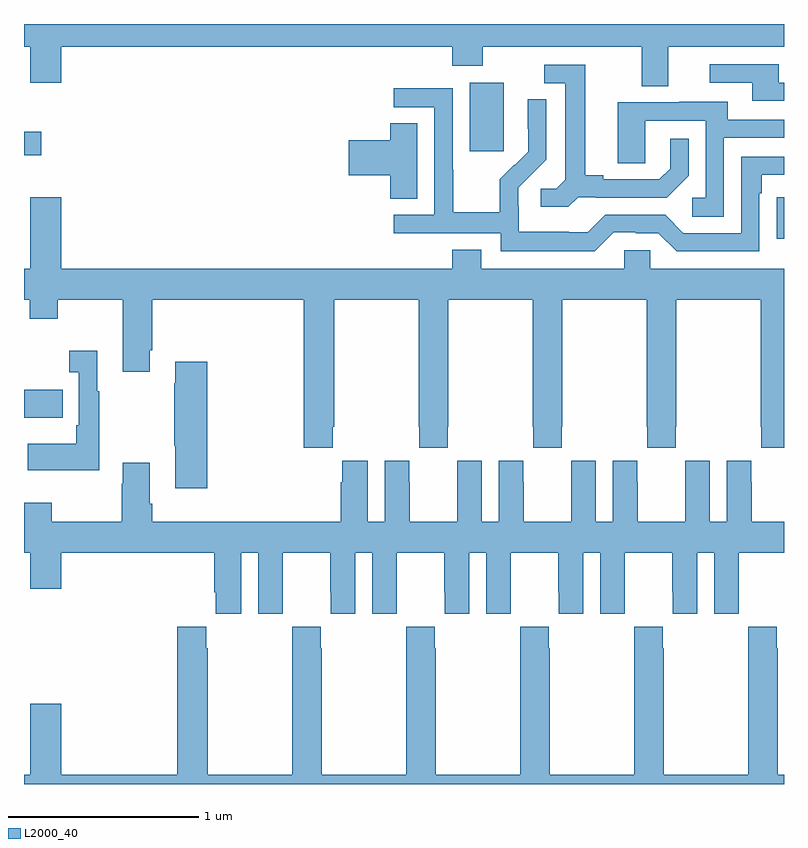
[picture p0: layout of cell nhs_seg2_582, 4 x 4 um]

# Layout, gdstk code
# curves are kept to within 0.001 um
import gdstk
lib = gdstk.Library(unit=1e-6, precision=1e-09)
def R(c, l, rs):  # rectangles x0, y0, x1, y1
    for r in rs: c.add(gdstk.rectangle(r[:2], r[2:], *l))
def P(c, l, *ps):  # polygons
    for p in ps: c.add(gdstk.Polygon(p, *l))
L2000_40 = (2000, 40)

nhs_seg2_582 = lib.new_cell('nhs_seg2_582')
R(nhs_seg2_582, L2000_40, [(141,601.727,141.203,601.875), (144.961,602.67,145,602.888), (141,603.11,141.091,603.232), (143.345,603.129,143.524,603.49)])
P(nhs_seg2_582, L2000_40, [(144.391,603.68),(145,603.68),(145,603.8),(141,603.8),(141,603.68),(141.032,603.68),(141.032,603.492),(141.196,603.492),(141.196,603.68),(143.255,603.68),(143.255,603.581),(143.415,603.581),(143.415,603.68),(144.251,603.68),(144.251,603.472),(144.391,603.472)],
  [(145,603.492),(144.973,603.492),(144.973,603.588),(144.609,603.588),(144.609,603.492),(144.833,603.492),(144.833,603.396),(145,603.396)],
  [(143.916,602.889),(144.01,602.889),(144.01,602.886),(144.382,602.886),(144.498,603.002),(144.498,603.196),(144.401,603.196),(144.401,603.039),(144.344,602.982),(144.049,602.982),(144.049,603.005),(143.953,603.005),(143.953,603.585),(143.739,603.585),(143.739,603.489),(143.849,603.489),(143.849,602.981),(143.802,602.934),(143.721,602.934),(143.721,602.837),(143.864,602.837)],
  [(144.105,602.703),(144.221,602.703),(144.221,602.7),(144.339,602.7),(144.435,602.604),(144.87,602.604),(144.87,602.909),(144.883,602.909),(144.883,603.006),(145,603.006),(145,603.102),(144.774,603.102),(144.774,602.7),(144.471,602.7),(144.375,602.796),(144.06,602.796),(143.967,602.703),(143.867,602.703),(143.867,602.707),(143.604,602.707),(143.604,602.841),(143.602,602.841),(143.602,602.938),(143.748,603.086),(143.748,603.404),(143.652,603.404),(143.652,603.25),(143.654,603.25),(143.654,603.128),(143.583,603.057),(143.58,603.06),(143.503,602.983),(143.503,602.809),(143.259,602.809),(143.259,603.032),(143.256,603.032),(143.256,603.462),(142.947,603.462),(142.947,603.363),(143.16,603.363),(143.16,602.796),(142.947,602.796),(142.947,602.7),(143.508,602.7),(143.508,602.603),(144.005,602.603)],
  [(144.684,603.201),(145,603.201),(145,603.297),(144.703,603.297),(144.703,603.391),(144.449,603.391),(144.449,603.387),(144.125,603.387),(144.125,603.067),(144.27,603.067),(144.27,603.291),(144.588,603.291),(144.588,602.886),(144.516,602.886),(144.516,602.785),(144.684,602.785)],
  [(143.071,603.278),(142.928,603.278),(142.928,603.188),(142.71,603.188),(142.71,603.005),(142.928,603.005),(142.928,602.881),(143.071,602.881)],
  [(142.625,601.681),(142.632,601.681),(142.632,602.348),(143.077,602.348),(143.077,601.681),(143.079,601.681),(143.079,601.569),(143.229,601.569),(143.229,601.681),(143.232,601.681),(143.232,602.348),(143.677,602.348),(143.677,601.681),(143.679,601.681),(143.679,601.569),(143.829,601.569),(143.829,601.681),(143.832,601.681),(143.832,602.348),(144.277,602.348),(144.277,601.681),(144.279,601.681),(144.279,601.569),(144.429,601.569),(144.429,601.681),(144.432,601.681),(144.432,602.348),(144.877,602.348),(144.877,601.681),(144.879,601.681),(144.879,601.569),(145,601.569),(145,602.512),(144.297,602.512),(144.297,602.61),(144.159,602.61),(144.159,602.512),(143.407,602.512),(143.407,602.611),(143.255,602.611),(143.255,602.512),(141.196,602.512),(141.196,602.887),(141.032,602.887),(141.032,602.512),(141,602.512),(141,602.348),(141.029,602.348),(141.029,602.249),(141.177,602.249),(141.177,602.348),(141.521,602.348),(141.521,601.971),(141.661,601.971),(141.661,602.083),(141.674,602.083),(141.674,602.348),(142.472,602.348),(142.472,601.569),(142.625,601.569)],
  [(141.397,601.867),(141.385,601.867),(141.385,602.08),(141.237,602.08),(141.237,601.967),(141.288,601.967),(141.288,601.687),(141.276,601.687),(141.276,601.591),(141.019,601.591),(141.019,601.451),(141.397,601.451)],
  [(141.965,602.023),(141.797,602.023),(141.797,601.91),(141.79,601.91),(141.79,601.579),(141.797,601.579),(141.797,601.356),(141.965,601.356)],
  [(141.674,601.276),(141.661,601.276),(141.661,601.492),(141.521,601.492),(141.521,601.379),(141.514,601.379),(141.514,601.18),(141.147,601.18),(141.147,601.279),(141,601.279),(141,601.016),(141.032,601.016),(141.032,600.828),(141.196,600.828),(141.196,601.016),(142.001,601.016),(142.001,600.808),(142.01,600.808),(142.01,600.696),(142.144,600.696),(142.144,601.016),(142.232,601.016),(142.232,600.696),(142.362,600.696),(142.362,600.808),(142.363,600.808),(142.363,601.016),(142.613,601.016),(142.613,600.808),(142.614,600.808),(142.614,600.696),(142.744,600.696),(142.744,601.016),(142.832,601.016),(142.832,600.696),(142.962,600.696),(142.962,600.808),(142.963,600.808),(142.963,601.016),(143.213,601.016),(143.213,600.808),(143.214,600.808),(143.214,600.696),(143.344,600.696),(143.344,601.016),(143.432,601.016),(143.432,600.696),(143.562,600.696),(143.562,600.808),(143.563,600.808),(143.563,601.016),(143.813,601.016),(143.813,600.808),(143.814,600.808),(143.814,600.696),(143.944,600.696),(143.944,601.016),(144.032,601.016),(144.032,600.696),(144.162,600.696),(144.162,600.808),(144.163,600.808),(144.163,601.016),(144.413,601.016),(144.413,600.808),(144.414,600.808),(144.414,600.696),(144.544,600.696),(144.544,601.016),(144.632,601.016),(144.632,600.696),(144.762,600.696),(144.762,600.808),(144.763,600.808),(144.763,601.016),(145,601.016),(145,601.18),(144.829,601.18),(144.829,601.388),(144.828,601.388),(144.828,601.501),(144.698,601.501),(144.698,601.18),(144.61,601.18),(144.61,601.501),(144.48,601.501),(144.48,601.388),(144.479,601.388),(144.479,601.18),(144.229,601.18),(144.229,601.388),(144.228,601.388),(144.228,601.501),(144.098,601.501),(144.098,601.18),(144.01,601.18),(144.01,601.501),(143.88,601.501),(143.88,601.388),(143.879,601.388),(143.879,601.18),(143.629,601.18),(143.629,601.388),(143.628,601.388),(143.628,601.501),(143.498,601.501),(143.498,601.18),(143.41,601.18),(143.41,601.501),(143.28,601.501),(143.28,601.388),(143.279,601.388),(143.279,601.18),(143.029,601.18),(143.029,601.388),(143.028,601.388),(143.028,601.501),(142.898,601.501),(142.898,601.18),(142.81,601.18),(142.81,601.501),(142.676,601.501),(142.676,601.388),(142.667,601.388),(142.667,601.18),(141.674,601.18)],
  [(145,599.848),(144.966,599.848),(144.966,600.515),(144.963,600.515),(144.963,600.628),(144.813,600.628),(144.813,600.515),(144.811,600.515),(144.811,599.848),(144.366,599.848),(144.366,600.515),(144.363,600.515),(144.363,600.628),(144.213,600.628),(144.213,600.515),(144.211,600.515),(144.211,599.848),(143.766,599.848),(143.766,600.515),(143.763,600.515),(143.763,600.628),(143.613,600.628),(143.613,600.515),(143.611,600.515),(143.611,599.848),(143.166,599.848),(143.166,600.515),(143.163,600.515),(143.163,600.628),(143.013,600.628),(143.013,600.515),(143.011,600.515),(143.011,599.848),(142.566,599.848),(142.566,600.515),(142.563,600.515),(142.563,600.628),(142.413,600.628),(142.413,600.515),(142.411,600.515),(142.411,599.848),(141.966,599.848),(141.966,600.515),(141.959,600.515),(141.959,600.628),(141.806,600.628),(141.806,599.848),(141.196,599.848),(141.196,600.223),(141.032,600.223),(141.032,599.848),(141,599.848),(141,599.8),(145,599.8)])

lib.write_gds('nhs_seg2_582.gds')
